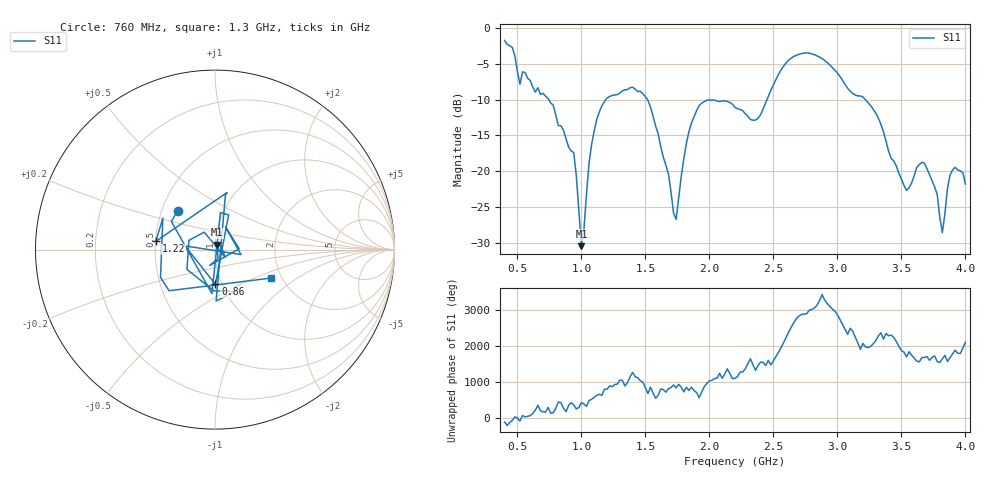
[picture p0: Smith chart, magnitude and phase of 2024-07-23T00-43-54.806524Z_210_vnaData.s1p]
!Created with skrf (http://scikit-rf.org).
# Hz S RI R 50.0
!freq ReS11 ImS11
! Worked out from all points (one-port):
!   181 points, 400 MHz to 4 GHz, reference 50 ohm
!   lowest |S11| = -30.5 dB at 1 GHz (marker M1), VSWR 1.06, Z = 51.1 + j2.82 ohm
!   |S11| at or under -10 dB: 745.4 MHz to 1.19 GHz (445.1 MHz wide, 46 % of centre); 1.516 GHz to 2.45 GHz (933.2 MHz wide, 47.1 % of centre); 3.218 GHz to end of sweep
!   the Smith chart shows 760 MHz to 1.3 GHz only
!   S11 on the Smith chart (normalised r, x): 760 MHz: 0.60, +0.29; 860 MHz: 0.93, -0.37; 1.22 GHz: 0.50, +0.05; 1.3 GHz: 1.77, -0.64
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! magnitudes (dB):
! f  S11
! 400 MHz  -1.7
! 460 MHz  -2.7
! 520 MHz  -7.8
! 760 MHz  -10.4
! 860 MHz  -14.3
! 940 MHz  -17.4
! 1 GHz  -30.5
! 1.08 GHz  -16.2
! 1.22 GHz  -9.6
! 1.3 GHz  -9.1
! 1.52 GHz  -10.1
! 1.68 GHz  -20.4
! 1.72 GHz  -25.9
! 1.76 GHz  -23.7
! 1.84 GHz  -14.5
! 1.92 GHz  -10.8
! 2.2 GHz  -11.1
! 2.38 GHz  -12.6
! 2.66 GHz  -3.9
! 2.88 GHz  -4.2
! 3.1 GHz  -8.8
! 3.3 GHz  -11.9
! 3.56 GHz  -22.3
! 3.68 GHz  -18.9
! 3.78 GHz  -23.3
! 3.82 GHz  -28.6
! 3.88 GHz  -20.6
! 4 GHz  -21.8
